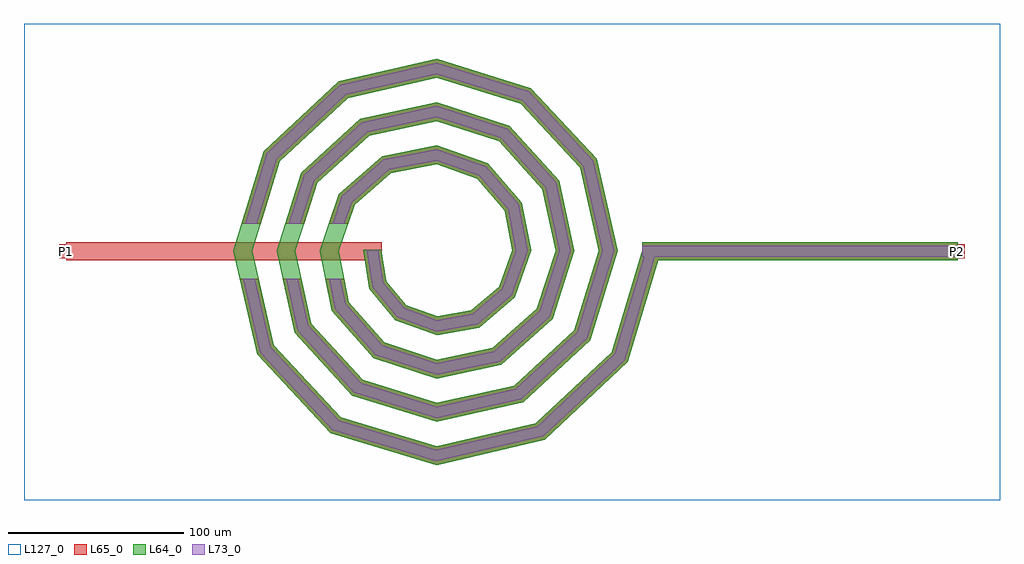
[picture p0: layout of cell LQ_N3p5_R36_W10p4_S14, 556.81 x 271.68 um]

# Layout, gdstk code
import gdstk
lib = gdstk.Library(unit=1e-6, precision=1e-09)
def R(c, l, rs):  # rectangles x0, y0, x1, y1
    for r in rs: c.add(gdstk.rectangle(r[:2], r[2:], *l))
def P(c, l, *ps):  # polygons
    for p in ps: c.add(gdstk.Polygon(p, *l))
L64_0 = (64, 0)
L65_0 = (65, 0)
L73_0 = (73, 0)
L127_0 = (127, 0)

lq_n3p5_r36_w10p4_s14 = lib.new_cell('LQ_N3p5_R36_W10p4_S14')
R(lq_n3p5_r36_w10p4_s14, L64_0, [(117.598,-5.2,297.598,5.2)])
P(lq_n3p5_r36_w10p4_s14, L64_0, [(-28.407,-17.019),(-17.142,-30.708),(0.484,-37.22),(20.037,-33.782),(36.014,-20.283),(43.386,0.423),(39.15,23.072),(23.411,41.329),(0.376,49.553),(-26.118,44.514),(-46.65,26.53),(-55.721,0.338),(-49.873,-29.171),(-29.643,-51.975),(0.307,-61.89),(32.231,-55.23),(57.304,-32.751),(68.059,0.281),(60.585,35.294),(35.855,62.635),(0.259,74.228),(-38.361,65.938),(-67.969,38.957),(-80.397,0.241),(-71.29,-41.431),(-42.056,-73.303),(0.225,-86.567),(44.502,-76.64),(78.639,-45.154),(92.737,0.21),(81.99,47.575),(48.25,83.976),(0.198,98.907),(-50.65,87.34),(-89.313,51.345),(-105.076,0.187),(-92.688,-53.725),(-54.439,-94.651),(0.177,-111.246),(56.802,-98.036),(99.99,-57.532),(117.82,1.503),(127.776,-1.503),(109.139,-63.209),(61.882,-107.531),(0.177,-122.008),(-60.132,-103.791),(-102.192,-58.788),(-115.838,0.187),(-98.442,57.055),(-55.694,96.853),(0.198,109.667),(53.98,93.092),(91.515,52.598),(103.497,0.21),(87.742,-50.906),(49.501,-86.178),(0.225,-97.326),(-47.833,-82.391),(-80.842,-46.402),(-91.155,0.241),(-77.038,44.763),(-43.302,75.506),(0.259,84.984),(41.694,71.684),(70.172,40.198),(78.813,0.281),(66.328,-38.628),(37.091,-64.84),(0.307,-72.642),(-35.566,-60.97),(-59.51,-33.981),(-66.47,0.338),(-55.608,32.509),(-30.864,54.182),(0.376,60.297),(29.458,50.242),(48.858,27.74),(54.124,0.423),(44.87,-26.415),(24.604,-43.539),(0.484,-47.95),(-23.386,-39.488),(-38.227,-21.452),(-41.548,0.827),(-31.281,0.827)])
R(lq_n3p5_r36_w10p4_s14, L65_0, [(-211.214,-5.2,-31.214,5.2), (117.598,-5.2,297.598,5.2), (-215.214,-4,-207.214,4), (293.598,-4,301.598,4)])
P(lq_n3p5_r36_w10p4_s14, L65_0, [(-92.688,-53.726),(-54.439,-94.651),(0.177,-111.246),(56.802,-98.036),(99.99,-57.532),(117.82,1.503),(127.776,-1.503),(109.139,-63.209),(61.882,-107.531),(0.177,-122.008),(-60.132,-103.791),(-102.192,-58.788),(-112.185,-15.6),(-101.51,-15.6)],
  [(-71.29,-41.431),(-42.056,-73.303),(0.225,-86.567),(44.502,-76.641),(78.639,-45.154),(92.737,0.211),(81.99,47.575),(48.25,83.976),(0.198,98.907),(-50.65,87.34),(-89.313,51.345),(-100.247,15.6),(-111.123,15.6),(-98.442,57.056),(-55.694,96.853),(0.198,109.667),(53.98,93.092),(91.515,52.598),(103.497,0.211),(87.742,-50.906),(49.501,-86.178),(0.225,-97.326),(-47.833,-82.391),(-80.842,-46.402),(-87.652,-15.6),(-77.001,-15.6)],
  [(-49.873,-29.172),(-29.643,-51.975),(0.307,-61.89),(32.231,-55.23),(57.304,-32.751),(68.059,0.281),(60.585,35.294),(35.855,62.635),(0.259,74.228),(-38.361,65.938),(-67.969,38.957),(-75.375,15.6),(-86.285,15.6),(-77.038,44.763),(-43.302,75.506),(0.259,84.984),(41.694,71.684),(70.172,40.198),(78.813,0.281),(66.328,-38.628),(37.092,-64.84),(0.307,-72.642),(-35.566,-60.97),(-59.51,-33.981),(-63.237,-15.6),(-52.626,-15.6)],
  [(-17.142,-30.708),(0.484,-37.22),(20.037,-33.782),(36.014,-20.283),(43.386,0.423),(39.15,23.072),(23.411,41.329),(0.376,49.553),(-26.118,44.514),(-46.65,26.53),(-50.34,15.6),(-61.317,15.6),(-55.608,32.509),(-30.864,54.182),(0.376,60.297),(29.458,50.242),(48.858,27.74),(54.124,0.423),(44.87,-26.415),(24.604,-43.539),(0.484,-47.95),(-23.386,-39.489),(-38.227,-21.452),(-41.548,0.827),(-31.281,0.827),(-28.407,-17.019)])
R(lq_n3p5_r36_w10p4_s14, L73_0, [(117.598,-3.2,297.598,3.2)])
P(lq_n3p5_r36_w10p4_s14, L73_0, [(-94.516,-54.699),(-55.534,-96.409),(0.109,-113.316),(57.779,-99.862),(101.75,-58.624),(119.734,0.925),(125.861,0.925),(107.38,-62.117),(60.905,-105.705),(0.109,-119.939),(-59.037,-102.033),(-100.364,-57.815),(-110.132,-15.6),(-103.563,-15.6)],
  [(-73.127,-42.387),(-43.167,-75.051),(0.138,-88.636),(45.463,-78.475),(80.389,-46.26),(94.806,0.13),(83.822,48.541),(49.352,85.729),(0.122,100.976),(-51.62,89.169),(-91.069,52.443),(-102.339,15.6),(-109.032,15.6),(-96.686,55.957),(-54.724,95.024),(0.122,107.598),(52.878,91.339),(89.683,51.632),(101.427,0.13),(85.991,-49.8),(48.54,-84.344),(0.138,-95.257),(-46.722,-80.643),(-79.005,-45.446),(-85.604,-15.6),(-79.05,-15.6)],
  [(-51.726,-30.096),(-30.782,-53.705),(0.189,-63.957),(33.166,-57.078),(59.04,-33.881),(70.127,0.173),(62.428,36.237),(36.978,64.376),(0.16,76.296),(-39.311,67.778),(-69.713,40.073),(-77.473,15.6),(-84.187,15.6),(-75.294,43.646),(-42.352,73.666),(0.16,82.916),(40.571,69.944),(68.328,39.255),(76.745,0.173),(64.593,-37.498),(36.157,-62.992),(0.189,-70.574),(-34.427,-59.24),(-57.656,-33.056),(-61.197,-15.6),(-54.666,-15.6)],
  [(-18.343,-32.397),(0.298,-39.283),(20.916,-35.659),(37.717,-21.462),(45.451,0.26),(41.017,23.97),(24.574,43.043),(0.231,51.619),(-27.031,46.373),(-48.373,27.68),(-52.451,15.6),(-59.206,15.6),(-53.885,31.359),(-29.951,52.323),(0.231,58.231),(28.295,48.528),(46.991,26.842),(52.059,0.26),(43.167,-25.236),(23.726,-41.663),(0.298,-45.886),(-22.185,-37.8),(-36.339,-20.6),(-39.574,0.509),(-33.255,0.509),(-30.296,-17.871)])
R(lq_n3p5_r36_w10p4_s14, L127_0, [(-235.214,-142.008,321.598,129.667)])
lq_n3p5_r36_w10p4_s14.add(gdstk.Label('P2', (297.598,0), layer=65, texttype=0))
lq_n3p5_r36_w10p4_s14.add(gdstk.Label('P1', (-211.214,0), layer=65, texttype=0))
lq_n3p5_r36_w10p4_s14.add(gdstk.Label('P2', (301.598,0), layer=145, texttype=0))
lq_n3p5_r36_w10p4_s14.add(gdstk.Label('P1', (-215.214,0), layer=145, texttype=0))

lib.write_gds('LQ_N3p5_R36_W10p4_S14.gds')
